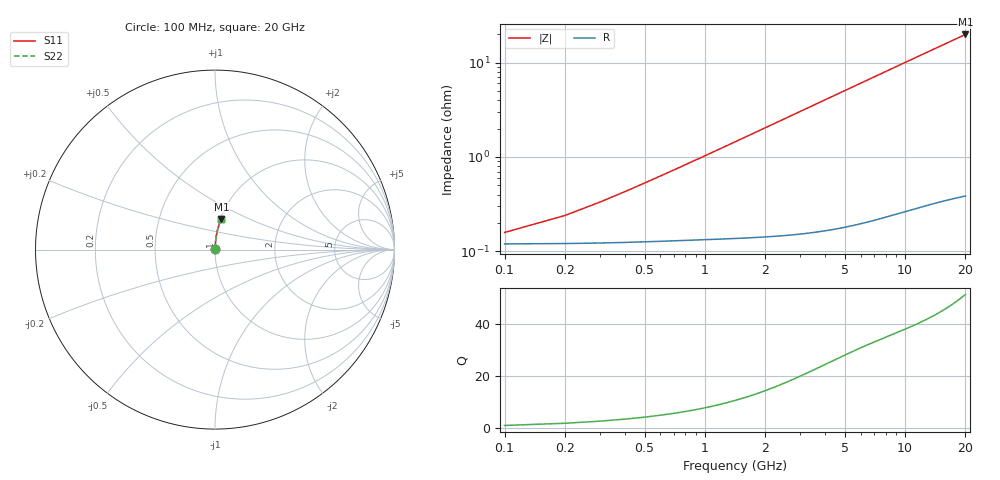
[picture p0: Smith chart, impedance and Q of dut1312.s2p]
! Touchstone file exported from HFSS 2024.1.0
!  File:  C:/UserFiles/LocalFiles/RDL_TSV_Batchsim/temp_RDL_bottom_1312_1780368563.aedt
!  Generated:  10:52:01 AM Jun  2, 2026
!  Design:  RDL_bottom
!  Project:  temp_RDL_bottom_1312_1780368563
!  Setup:  Setup1
!  Solution:  Sweep
! Variables:
!  dtsv = 10.80580581um
!  hbump = 3um
!  htsv = 56.03um
!  ldown = 112.77um
!  lrdl = 100um
!  p = 40
!  p1 = 48.6um
!  rhole = 1um
!  t = 450um
!  tdown = 3.7um
!  trdl = 3.915915916um
!  wdown = 10.28um
!  wrdl = 20um
# GHz S MA R 50.000000
! Terminal data exported
! Port[1] = RDL1_T1
! Port[2] = RDL1_T2
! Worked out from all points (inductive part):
!   200 points, 100 MHz to 20 GHz, reference 50 ohm
!   read as one part in series: L = 163 pH near 400 MHz
!   highest Q = 51.4 at 20 GHz (marker M1), where L = 158 pH
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0.1  0.001493 36.7  0.9988 -0.1  0.9988 -0.1  0.001493 36.7
! Gamma 0 0 0 0
! Port Impedance 50 0 50 0
0.2  0.002153 55.8  0.9988 -0.1  0.9988 -0.1  0.002153 55.8
0.3  0.002934 65.2  0.9988 -0.2  0.9988 -0.2  0.002934 65.2
0.4  0.003756 70.6  0.9987 -0.3  0.9987 -0.3  0.003756 70.6
0.5  0.004595 73.9  0.9987 -0.3  0.9987 -0.3  0.004595 73.9
0.6  0.005441 76.3  0.9987 -0.4  0.9987 -0.4  0.005441 76.3
0.8  0.007144 79.2  0.9986 -0.5  0.9986 -0.5  0.007144 79.2
1.1  0.009714 81.7  0.9986 -0.7  0.9986 -0.7  0.009714 81.7
1.5  0.01316 83.5  0.9984 -1.0  0.9984 -1.0  0.01316 83.5
1.8  0.01575 84.3  0.9983 -1.2  0.9983 -1.2  0.01575 84.3
2.1  0.01835 84.9  0.9982 -1.4  0.9982 -1.4  0.01835 84.9
2.7  0.02356 85.5  0.9979 -1.8  0.9979 -1.8  0.02356 85.5
3.5  0.03053 85.9  0.9974 -2.3  0.9974 -2.3  0.03053 85.9
4.2  0.03664 85.9  0.9968 -2.8  0.9968 -2.8  0.03664 85.9
5  0.04365 85.9  0.9961 -3.3  0.9961 -3.3  0.04365 85.9
5.9  0.05155 85.7  0.9952 -3.8  0.9952 -3.8  0.05155 85.7
6.8  0.05946 85.4  0.9943 -4.4  0.9943 -4.4  0.05947 85.4
8.3  0.07269 84.8  0.9925 -5.4  0.9925 -5.4  0.07269 84.8
10.1  0.08857 83.9  0.9902 -6.5  0.9902 -6.5  0.08857 83.9
13.4  0.1176 82.1  0.9855 -8.5  0.9855 -8.5  0.1176 82.1
16.7  0.1464 80.2  0.9803 -10.4  0.9803 -10.4  0.1464 80.2
20  0.1747 78.3  0.9746 -12.4  0.9746 -12.4  0.1747 78.3
